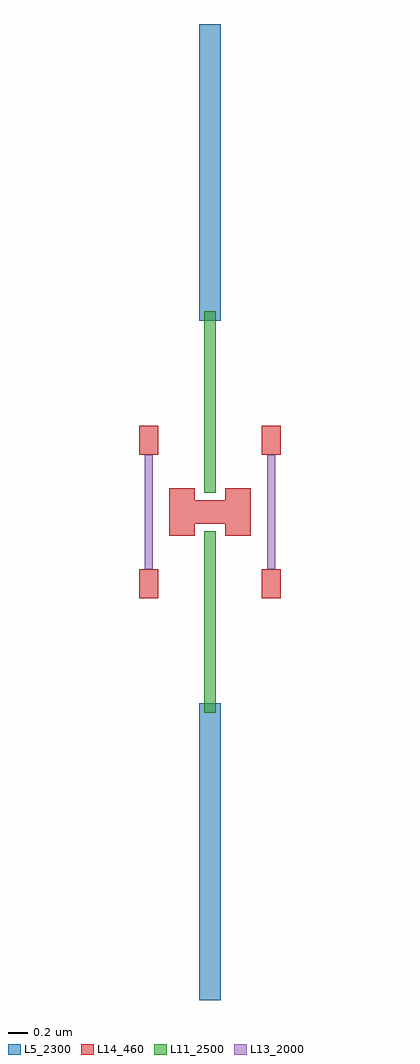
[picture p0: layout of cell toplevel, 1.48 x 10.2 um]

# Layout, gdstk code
import gdstk
lib = gdstk.Library(unit=1e-6, precision=1e-09)
def R(c, l, rs):  # rectangles x0, y0, x1, y1
    for r in rs: c.add(gdstk.rectangle(r[:2], r[2:], *l))
L5_2300 = (5, 2300)
L11_2500 = (11, 2500)
L13_2000 = (13, 2000)
L14_460 = (14, 460)

rectangle = lib.new_cell('rectangle')
R(rectangle, L14_460, [(0,0,0.32,0.25)])

compass = lib.new_cell('compass')
compass.add(gdstk.Reference(rectangle, (-0.16,-0.125)))

rectangle003 = lib.new_cell('rectangle003')
R(rectangle003, L14_460, [(0,0,0.265,0.5)])

compass002 = lib.new_cell('compass002')
compass002.add(gdstk.Reference(rectangle003, (-0.132,-0.25)))

rectangle005 = lib.new_cell('rectangle005')
R(rectangle005, L14_460, [(0,0,0.265,0.5)])

compass004 = lib.new_cell('compass004')
compass004.add(gdstk.Reference(rectangle005, (-0.132,-0.25)))

dolan_h_undercut = lib.new_cell('dolan_h_undercut')
dolan_h_undercut.add(gdstk.Reference(compass, (0,0)))
dolan_h_undercut.add(gdstk.Reference(compass002, (-0.292,0)))
dolan_h_undercut.add(gdstk.Reference(compass004, (0.292,0)))

rectangle007 = lib.new_cell('rectangle007')
R(rectangle007, L11_2500, [(0,0,0.12,1.9)])

compass006 = lib.new_cell('compass006')
compass006.add(gdstk.Reference(rectangle007, (-0.06,-0.95)))

dolan_junction_bridge = lib.new_cell('dolan_junction_bridge')
dolan_junction_bridge.add(gdstk.Reference(compass006, (0,0)))

rectangle010 = lib.new_cell('rectangle010')
R(rectangle010, L11_2500, [(0,0,0.12,1.9)])

compass009 = lib.new_cell('compass009')
compass009.add(gdstk.Reference(rectangle010, (-0.06,-0.95)))

dolan_junction_bridge008 = lib.new_cell('dolan_junction_bridge008')
dolan_junction_bridge008.add(gdstk.Reference(compass009, (0,0)))

rectangle012 = lib.new_cell('rectangle012')
R(rectangle012, L5_2300, [(0,0,0.22,3.1)])

compass011 = lib.new_cell('compass011')
compass011.add(gdstk.Reference(rectangle012, (-0.11,-1.55)))

dolan_arm = lib.new_cell('dolan_arm')
dolan_arm.add(gdstk.Reference(compass011, (0,0)))

rectangle015 = lib.new_cell('rectangle015')
R(rectangle015, L5_2300, [(0,0,0.22,3.1)])

compass014 = lib.new_cell('compass014')
compass014.add(gdstk.Reference(rectangle015, (-0.11,-1.55)))

dolan_arm013 = lib.new_cell('dolan_arm013')
dolan_arm013.add(gdstk.Reference(compass014, (0,0)))

rectangle017 = lib.new_cell('rectangle017')
R(rectangle017, L13_2000, [(0,0,0.08,1.2)])

rectangle019 = lib.new_cell('rectangle019')
R(rectangle019, L14_460, [(0,0,0.2,0.3)])

compass018 = lib.new_cell('compass018')
compass018.add(gdstk.Reference(rectangle019, (-0.1,-0.15)))

rectangle021 = lib.new_cell('rectangle021')
R(rectangle021, L14_460, [(0,0,0.2,0.3)])

compass020 = lib.new_cell('compass020')
compass020.add(gdstk.Reference(rectangle021, (-0.1,-0.15)))

compass016 = lib.new_cell('compass016')
compass016.add(gdstk.Reference(rectangle017, (-0.04,-0.6)))
compass016.add(gdstk.Reference(compass018, (0,0.75)))
compass016.add(gdstk.Reference(compass020, (0,-0.75)))

stress_relief_rect_1 = lib.new_cell('stress_relief_rect_1')
stress_relief_rect_1.add(gdstk.Reference(compass016, (0.64,0)))

rectangle023 = lib.new_cell('rectangle023')
R(rectangle023, L13_2000, [(0,0,0.08,1.2)])

rectangle025 = lib.new_cell('rectangle025')
R(rectangle025, L14_460, [(0,0,0.2,0.3)])

compass024 = lib.new_cell('compass024')
compass024.add(gdstk.Reference(rectangle025, (-0.1,-0.15)))

rectangle027 = lib.new_cell('rectangle027')
R(rectangle027, L14_460, [(0,0,0.2,0.3)])

compass026 = lib.new_cell('compass026')
compass026.add(gdstk.Reference(rectangle027, (-0.1,-0.15)))

compass022 = lib.new_cell('compass022')
compass022.add(gdstk.Reference(rectangle023, (-0.04,-0.6)))
compass022.add(gdstk.Reference(compass024, (0,0.75)))
compass022.add(gdstk.Reference(compass026, (0,-0.75)))

stress_relief_rect_2 = lib.new_cell('stress_relief_rect_2')
stress_relief_rect_2.add(gdstk.Reference(compass022, (-0.64,0)))

toplevel = lib.new_cell('toplevel')
toplevel.add(gdstk.Reference(dolan_h_undercut, (0,0)))
toplevel.add(gdstk.Reference(dolan_junction_bridge, (0,1.15)))
toplevel.add(gdstk.Reference(dolan_junction_bridge008, (0,-1.15)))
toplevel.add(gdstk.Reference(dolan_arm, (0,3.55)))
toplevel.add(gdstk.Reference(dolan_arm013, (0,-3.55)))
toplevel.add(gdstk.Reference(stress_relief_rect_1, (0,0)))
toplevel.add(gdstk.Reference(stress_relief_rect_2, (0,0)))

lib.write_gds('toplevel.gds')
